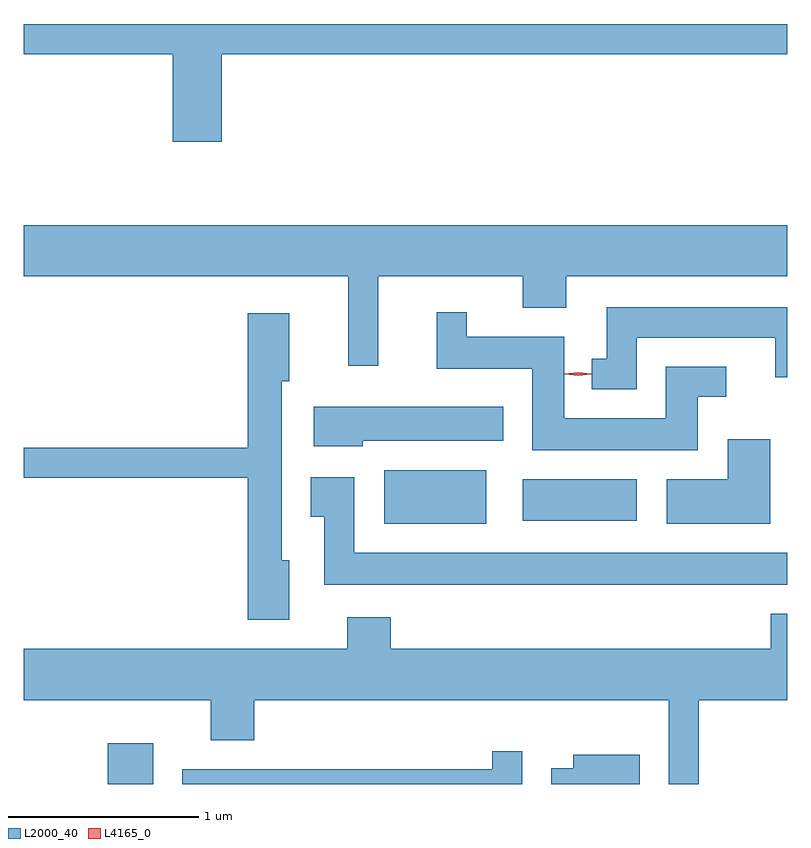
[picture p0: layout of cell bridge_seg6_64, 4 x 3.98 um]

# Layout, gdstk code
import gdstk
lib = gdstk.Library(unit=1e-6, precision=1e-09)
def R(c, l, rs):  # rectangles x0, y0, x1, y1
    for r in rs: c.add(gdstk.rectangle(r[:2], r[2:], *l))
def P(c, l, *ps):  # polygons
    for p in ps: c.add(gdstk.Polygon(p, *l))
L2000_40 = (2000, 40)
L4165_0 = (4165, 0)

bridge_seg6_64 = lib.new_cell('bridge_seg6_64')
R(bridge_seg6_64, L2000_40, [(1239.086,1640.616,1239.324,1640.829), (1240.536,1641.981,1241.069,1642.259), (1241.261,1641.996,1241.859,1642.214)])
P(bridge_seg6_64, L2000_40, [(1239.684,1644.441),(1242.647,1644.441),(1242.647,1644.599),(1238.647,1644.599),(1238.647,1644.441),(1239.426,1644.441),(1239.426,1643.981),(1239.684,1643.981)],
  [(1240.504,1643.276),(1241.261,1643.276),(1241.261,1643.111),(1241.489,1643.111),(1241.489,1643.276),(1242.647,1643.276),(1242.647,1643.544),(1238.647,1643.544),(1238.647,1643.276),(1240.346,1643.276),(1240.346,1642.808),(1240.504,1642.808)],
  [(1241.859,1642.956),(1242.586,1642.956),(1242.586,1642.748),(1242.647,1642.748),(1242.647,1643.114),(1241.701,1643.114),(1241.701,1642.844),(1241.623,1642.844),(1241.623,1642.686),(1241.859,1642.686)],
  [(1242.179,1642.646),(1242.328,1642.646),(1242.328,1642.804),(1242.011,1642.804),(1242.011,1642.534),(1241.479,1642.534),(1241.479,1642.959),(1240.969,1642.959),(1240.969,1643.088),(1240.811,1643.088),(1240.811,1642.791),(1241.311,1642.791),(1241.311,1642.366),(1242.179,1642.366)],
  [(1240.039,1641.789),(1239.999,1641.789),(1239.999,1642.726),(1240.039,1642.726),(1240.039,1643.084),(1239.821,1643.084),(1239.821,1642.379),(1238.647,1642.379),(1238.647,1642.221),(1239.821,1642.221),(1239.821,1641.476),(1240.039,1641.476)],
  [(1240.424,1642.416),(1241.159,1642.416),(1241.159,1642.594),(1240.166,1642.594),(1240.166,1642.386),(1240.424,1642.386)],
  [(1242.559,1642.424),(1242.336,1642.424),(1242.336,1642.214),(1242.016,1642.214),(1242.016,1641.981),(1242.559,1641.981)],
  [(1242.647,1641.829),(1240.379,1641.829),(1240.379,1642.224),(1240.151,1642.224),(1240.151,1642.016),(1240.221,1642.016),(1240.221,1641.661),(1242.647,1641.661)],
  [(1242.184,1641.056),(1242.647,1641.056),(1242.647,1641.509),(1242.561,1641.509),(1242.561,1641.324),(1240.569,1641.324),(1240.569,1641.489),(1240.341,1641.489),(1240.341,1641.324),(1238.647,1641.324),(1238.647,1641.056),(1239.626,1641.056),(1239.626,1640.846),(1239.854,1640.846),(1239.854,1641.056),(1242.026,1641.056),(1242.026,1640.616),(1242.184,1640.616)],
  [(1241.259,1640.788),(1241.101,1640.788),(1241.101,1640.694),(1239.476,1640.694),(1239.476,1640.616),(1241.259,1640.616)],
  [(1241.874,1640.769),(1241.526,1640.769),(1241.526,1640.699),(1241.411,1640.699),(1241.411,1640.616),(1241.874,1640.616)])
P(bridge_seg6_64, L4165_0, [(1241.552,1642.755),(1241.482,1642.764),(1241.482,1642.764),(1241.482,1642.765),(1241.552,1642.774),(1241.621,1642.765),(1241.621,1642.765),(1241.621,1642.764)])

lib.write_gds('bridge_seg6_64.gds')
